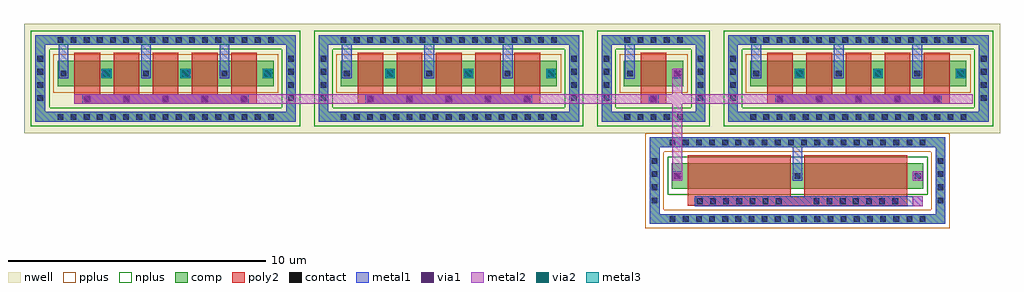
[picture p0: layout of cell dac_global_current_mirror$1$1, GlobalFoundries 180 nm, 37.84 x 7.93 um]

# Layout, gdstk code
import gdstk
lib = gdstk.Library(unit=1e-6, precision=1e-09)
def R(c, l, rs):  # rectangles x0, y0, x1, y1
    for r in rs: c.add(gdstk.rectangle(r[:2], r[2:], *l))
def A(c, l, x, y, w, h, nx, ny, dx, dy):  # array of equal rectangles
    R(c, l, [(x+i*dx, y+j*dy, x+i*dx+w, y+j*dy+h) for i in range(nx) for j in range(ny)])
def P(c, l, *ps):  # polygons
    for p in ps: c.add(gdstk.Polygon(p, *l))
nwell = (21, 0)
comp = (22, 0)
poly2 = (30, 0)
pplus = (31, 0)
nplus = (32, 0)
contact = (33, 0)
metal1 = (34, 0)
via1 = (35, 0)
metal2 = (36, 0)
via2 = (38, 0)
metal3 = (42, 0)

pfet_1 = lib.new_cell('pfet$1')
R(pfet_1, nwell, [(-1.76,-1.81,9.22,2.43)])
R(pfet_1, comp, [(-0.46,0,0,1), (0,0,7.46,1), (7.46,0,7.92,1)])
P(pfet_1, comp, [(-1.32,-1.37),(-1.32,-0.99),(8.4,-0.99),(8.4,1.61),(-0.94,1.61),(-0.94,-0.99),(-1.32,-0.99),(-1.32,1.99),(8.78,1.99),(8.78,-1.37)])
A(pfet_1, poly2, 0.19, -0.68, 1, 0.38, 5, 1, 1.52, 0)
A(pfet_1, poly2, 0.19, -0.3, 1, 1.6, 5, 1, 1.52, 0)
R(pfet_1, pplus, [(-0.63,-0.24,8.09,1.24)])
P(pfet_1, nplus, [(-1.49,-1.54),(-1.49,-0.82),(8.23,-0.82),(8.23,1.44),(-0.77,1.44),(-0.77,-0.82),(-1.49,-0.82),(-1.49,2.16),(8.95,2.16),(8.95,-1.54)])
A(pfet_1, contact, -0.46, -1.29, 0.22, 0.22, 17, 2, 0.51, 2.98)
A(pfet_1, contact, 0.58, -0.6, 0.22, 0.22, 5, 1, 1.52, 0)
A(pfet_1, contact, -1.24, -0.565, 0.22, 0.22, 1, 4, 0, 0.51)
A(pfet_1, contact, 8.48, -0.565, 0.22, 0.22, 1, 4, 0, 0.51)
A(pfet_1, contact, 1.34, 0.39, 0.22, 0.22, 4, 1, 1.52, 0)
R(pfet_1, contact, [(-0.34,0.39,-0.12,0.61), (7.58,0.39,7.8,0.61)])
A(pfet_1, metal1, 0.5, -0.68, 0.38, 0.38, 5, 1, 1.52, 0)
A(pfet_1, metal1, 1.26, 0.31, 0.38, 0.38, 4, 1, 1.52, 0)
R(pfet_1, metal1, [(-0.42,0.31,-0.04,0.69), (7.5,0.31,7.88,0.69)])
P(pfet_1, metal1, [(-1.32,-1.37),(-1.32,-0.99),(8.4,-0.99),(8.4,1.61),(-0.94,1.61),(-0.94,-0.99),(-1.32,-0.99),(-1.32,1.99),(8.78,1.99),(8.78,-1.37)])

pfet_1_1_1 = lib.new_cell('pfet$1$1$1')
R(pfet_1_1_1, nwell, [(-1.76,-1.81,3.14,2.43)])
R(pfet_1_1_1, comp, [(-0.46,0,0,1), (0,0,1.38,1), (1.38,0,1.84,1)])
P(pfet_1_1_1, comp, [(-1.32,-1.37),(-1.32,-0.99),(2.32,-0.99),(2.32,1.61),(-0.94,1.61),(-0.94,-0.99),(-1.32,-0.99),(-1.32,1.99),(2.7,1.99),(2.7,-1.37)])
R(pfet_1_1_1, poly2, [(0.19,-0.68,1.19,-0.3), (0.19,-0.3,1.19,1.3)])
R(pfet_1_1_1, pplus, [(-0.63,-0.24,2.01,1.24)])
P(pfet_1_1_1, nplus, [(-1.49,-1.54),(-1.49,-0.82),(2.15,-0.82),(2.15,1.44),(-0.77,1.44),(-0.77,-0.82),(-1.49,-0.82),(-1.49,2.16),(2.87,2.16),(2.87,-1.54)])
A(pfet_1_1_1, contact, -0.44, -1.29, 0.22, 0.22, 5, 2, 0.51, 2.98)
A(pfet_1_1_1, contact, -1.24, -0.565, 0.22, 0.22, 1, 4, 0, 0.51)
A(pfet_1_1_1, contact, 2.4, -0.565, 0.22, 0.22, 1, 4, 0, 0.51)
R(pfet_1_1_1, contact, [(0.58,-0.6,0.8,-0.38), (-0.34,0.39,-0.12,0.61), (1.5,0.39,1.72,0.61)])
R(pfet_1_1_1, metal1, [(0.5,-0.68,0.88,-0.3), (-0.42,0.31,-0.04,0.69), (1.42,0.31,1.8,0.69)])
P(pfet_1_1_1, metal1, [(-1.32,-1.37),(-1.32,-0.99),(2.32,-0.99),(2.32,1.61),(-0.94,1.61),(-0.94,-0.99),(-1.32,-0.99),(-1.32,1.99),(2.7,1.99),(2.7,-1.37)])

nfet_1 = lib.new_cell('nfet$1')
R(nfet_1, comp, [(-0.42,0,0,1), (0,0,8.9,1), (8.9,0,9.32,1)])
P(nfet_1, comp, [(-1.28,-1.36),(-1.28,-0.98),(9.8,-0.98),(9.8,1.61),(-0.9,1.61),(-0.9,-0.98),(-1.28,-0.98),(-1.28,1.99),(10.18,1.99),(10.18,-1.36)])
R(nfet_1, poly2, [(0.19,-0.66,4.19,-0.3), (4.71,-0.66,8.71,-0.3), (0.19,-0.3,4.19,1.3), (4.71,-0.3,8.71,1.3)])
P(nfet_1, pplus, [(-1.45,-1.53),(-1.45,-0.81),(9.63,-0.81),(9.63,1.44),(-0.73,1.44),(-0.73,-0.81),(-1.45,-0.81),(-1.45,2.16),(10.35,2.16),(10.35,-1.53)])
R(nfet_1, nplus, [(-0.59,-0.24,9.49,1.24)])
A(nfet_1, contact, -0.505, -1.28, 0.22, 0.22, 20, 2, 0.51, 2.97)
A(nfet_1, contact, 0.55, -0.59, 0.22, 0.22, 7, 1, 0.51, 0)
A(nfet_1, contact, 5.07, -0.59, 0.22, 0.22, 7, 1, 0.51, 0)
A(nfet_1, contact, -1.2, -0.56, 0.22, 0.22, 1, 4, 0, 0.51)
A(nfet_1, contact, 9.88, -0.56, 0.22, 0.22, 1, 4, 0, 0.51)
A(nfet_1, contact, -0.32, 0.39, 0.22, 0.22, 3, 1, 4.66, 0)
A(nfet_1, metal1, -0.4, 0.31, 0.38, 0.38, 3, 1, 4.66, 0)
R(nfet_1, metal1, [(0.47,-0.67,3.91,-0.29), (4.99,-0.67,8.43,-0.29)])
P(nfet_1, metal1, [(-1.28,-1.36),(-1.28,-0.98),(9.8,-0.98),(9.8,1.61),(-0.9,1.61),(-0.9,-0.98),(-1.28,-0.98),(-1.28,1.99),(10.18,1.99),(10.18,-1.36)])

dac_global_current_mirro = lib.new_cell('dac_global_current_mirror$1$1')
R(dac_global_current_mirro, poly2, [(138.925,-49,147.445,-48.64), (115.145,-45.05,122.225,-44.67), (126.125,-45.05,133.205,-44.67), (142.005,-45.05,149.085,-44.67)])
R(dac_global_current_mirro, metal1, [(139.205,-49.01,148.035,-48.63), (142.995,-48.03,143.375,-46.53), (115.455,-45.05,121.915,-44.67), (126.435,-45.05,132.895,-44.67), (142.315,-45.05,148.775,-44.67), (136.495,-44.065,136.875,-42.4), (114.535,-44.06,114.915,-42.395), (117.735,-44.06,118.115,-42.395), (120.775,-44.06,121.155,-42.395), (125.515,-44.06,125.895,-42.395), (128.715,-44.06,129.095,-42.395), (131.755,-44.06,132.135,-42.395), (141.395,-44.06,141.775,-42.395), (144.595,-44.06,144.975,-42.395), (147.635,-44.06,148.015,-42.395)])
A(dac_global_current_mirro, via1, 132.575, -44.99, 0.26, 0.26, 3, 1, 4.9, 0)
R(dac_global_current_mirro, via1, [(138.395,-47.97,138.655,-47.71), (115.515,-44.99,115.775,-44.73), (115.515,-44.99,115.775,-44.73), (117.035,-44.99,117.295,-44.73), (117.035,-44.99,117.295,-44.73), (118.555,-44.99,118.815,-44.73), (118.555,-44.99,118.815,-44.73), (120.075,-44.99,120.335,-44.73), (120.075,-44.99,120.335,-44.73), (121.595,-44.99,121.855,-44.73), (121.595,-44.99,121.855,-44.73), (126.495,-44.99,126.755,-44.73), (126.495,-44.99,126.755,-44.73), (128.015,-44.99,128.275,-44.73), (128.015,-44.99,128.275,-44.73), (129.535,-44.99,129.795,-44.73), (129.535,-44.99,129.795,-44.73), (131.055,-44.99,131.315,-44.73), (131.055,-44.99,131.315,-44.73), (132.575,-44.99,132.835,-44.73), (142.375,-44.99,142.635,-44.73), (143.895,-44.99,144.155,-44.73), (143.895,-44.99,144.155,-44.73), (145.415,-44.99,145.675,-44.73), (145.415,-44.99,145.675,-44.73), (146.935,-44.99,147.195,-44.73), (146.935,-44.99,147.195,-44.73), (148.455,-44.99,148.715,-44.73), (148.455,-44.99,148.715,-44.73), (116.275,-44,116.535,-43.74), (119.315,-44,119.575,-43.74), (122.515,-44,122.775,-43.74), (127.255,-44,127.515,-43.74), (130.295,-44,130.555,-43.74), (133.495,-44,133.755,-43.74), (138.395,-44,138.655,-43.74), (143.135,-44,143.395,-43.74), (146.175,-44,146.435,-43.74), (149.375,-44,149.635,-43.74)])
R(dac_global_current_mirro, metal2, [(147.655,-49.01,148.035,-48.63), (138.335,-48.03,138.715,-47.65), (138.335,-48.03,138.715,-43.68), (147.655,-48.03,148.035,-47.65), (115.145,-45.05,149.985,-44.67), (115.455,-45.05,115.835,-44.67), (115.455,-45.05,115.835,-44.67), (116.975,-45.05,117.355,-44.67), (116.975,-45.05,117.355,-44.67), (118.495,-45.05,118.875,-44.67), (118.495,-45.05,118.875,-44.67), (120.015,-45.05,120.395,-44.67), (120.015,-45.05,120.395,-44.67), (121.535,-45.05,121.915,-44.67), (121.535,-45.05,121.915,-44.67), (126.435,-45.05,126.815,-44.67), (126.435,-45.05,126.815,-44.67), (127.955,-45.05,128.335,-44.67), (127.955,-45.05,128.335,-44.67), (129.475,-45.05,129.855,-44.67), (129.475,-45.05,129.855,-44.67), (130.995,-45.05,131.375,-44.67), (130.995,-45.05,131.375,-44.67), (132.515,-45.05,132.895,-44.67), (132.515,-45.05,132.895,-44.67), (137.415,-45.05,137.795,-44.67), (137.415,-45.05,137.795,-44.67), (142.315,-45.05,142.695,-44.67), (142.315,-45.05,142.695,-44.67), (143.835,-45.05,144.215,-44.67), (143.835,-45.05,144.215,-44.67), (145.355,-45.05,145.735,-44.67), (145.355,-45.05,145.735,-44.67), (146.875,-45.05,147.255,-44.67), (146.875,-45.05,147.255,-44.67), (148.395,-45.05,148.775,-44.67), (148.395,-45.05,148.775,-44.67), (116.215,-44.06,116.595,-43.68), (119.255,-44.06,119.635,-43.68), (122.455,-44.06,122.835,-43.68), (127.195,-44.06,127.575,-43.68), (130.235,-44.06,130.615,-43.68), (133.435,-44.06,133.815,-43.68), (143.075,-44.06,143.455,-43.68), (146.115,-44.06,146.495,-43.68), (149.315,-44.06,149.695,-43.68)])
R(dac_global_current_mirro, via2, [(116.275,-44,116.535,-43.74), (119.315,-44,119.575,-43.74), (122.515,-44,122.775,-43.74), (127.255,-44,127.515,-43.74), (130.295,-44,130.555,-43.74), (133.495,-44,133.755,-43.74), (143.135,-44,143.395,-43.74), (146.175,-44,146.435,-43.74), (149.375,-44,149.635,-43.74)])
R(dac_global_current_mirro, metal3, [(116.215,-44.06,116.595,-43.68), (119.255,-44.06,119.635,-43.68), (122.455,-44.06,122.835,-43.68), (127.195,-44.06,127.575,-43.68), (130.235,-44.06,130.615,-43.68), (133.435,-44.06,133.815,-43.68), (143.075,-44.06,143.455,-43.68), (146.115,-44.06,146.495,-43.68), (149.315,-44.06,149.695,-43.68)])
dac_global_current_mirro.add(gdstk.Reference(pfet_1, (141.815,-44.37)))
dac_global_current_mirro.add(gdstk.Reference(pfet_1, (114.955,-44.37)))
dac_global_current_mirro.add(gdstk.Reference(pfet_1, (125.935,-44.37)))
dac_global_current_mirro.add(gdstk.Reference(pfet_1_1_1, (136.915,-44.37)))
dac_global_current_mirro.add(gdstk.Reference(nfet_1, (138.735,-48.34)))

lib.write_gds('dac_global_current_mirror_1_1.gds')
